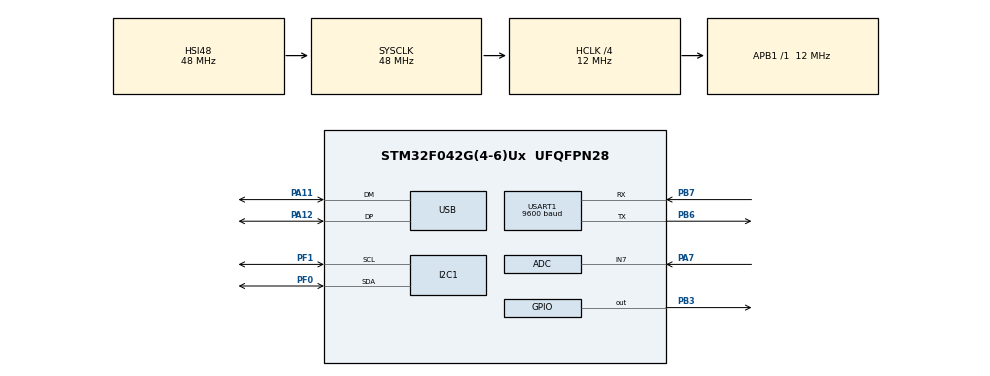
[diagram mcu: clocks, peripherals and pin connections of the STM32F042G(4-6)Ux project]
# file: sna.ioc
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ADC.ContinuousConvMode=ENABLE
ADC.DMAContinuousRequests=DISABLE
ADC.SamplingTime=ADC_SAMPLETIME_239CYCLES_5
Dma.ADC.0.Direction=DMA_PERIPH_TO_MEMORY
Dma.ADC.0.Instance=DMA1_Channel1
Dma.ADC.0.MemDataAlignment=DMA_MDATAALIGN_WORD
Dma.ADC.0.MemInc=DMA_MINC_ENABLE
Dma.ADC.0.Mode=DMA_CIRCULAR
Dma.ADC.0.PeriphDataAlignment=DMA_PDATAALIGN_HALFWORD
Dma.ADC.0.PeriphInc=DMA_PINC_DISABLE
Dma.ADC.0.Priority=DMA_PRIORITY_LOW
Dma.Request0=ADC
Mcu.Family=STM32F0
Mcu.Name=STM32F042G(4-6)Ux
Mcu.Package=UFQFPN28
NVIC.DMA1_Channel1_IRQn=true\:0\:0\:false\:false\:true\:false\:true
NVIC.USB_IRQn=true\:0\:0\:false\:false\:true\:false\:true
PA11.Mode=Device
PA11.Signal=USB_DM
PA12.Mode=Device
PA12.Signal=USB_DP
PA13.Mode=Serial_Wire
PA13.Signal=SYS_SWDIO
PA14.Mode=Serial_Wire
PA14.Signal=SYS_SWCLK
PA7.Mode=IN7
PA7.Signal=ADC_IN7
PB3.Signal=GPIO_Output
PB6.Mode=Asynchronous
PB6.Signal=USART1_TX
PB7.Mode=Asynchronous
PB7.Signal=USART1_RX
PF0-OSC_IN.GPIO_Pu=GPIO_PULLUP
PF0-OSC_IN.Mode=I2C
PF0-OSC_IN.Signal=I2C1_SDA
PF1-OSC_OUT.GPIO_Pu=GPIO_PULLUP
PF1-OSC_OUT.Mode=I2C
PF1-OSC_OUT.Signal=I2C1_SCL
ProjectManager.HeapSize=0x100
ProjectManager.StackSize=0x200
ProjectManager.TargetToolchain=STM32CubeIDE
RCC.AHBCLKDivider=RCC_SYSCLK_DIV4
RCC.AHBFreq_Value=12000000
RCC.APB1Freq_Value=12000000
RCC.APB1TimFreq_Value=12000000
RCC.HCLKFreq_Value=12000000
RCC.SYSCLKFreq_VALUE=48000000
RCC.SYSCLKSource=RCC_SYSCLKSOURCE_HSI48
RCC.USBFreq_Value=48000000
USART1.BaudRate=9600
USART1.VirtualMode-Asynchronous=VM_ASYNC
USB_DEVICE.APP_RX_DATA_SIZE=600
USB_DEVICE.APP_TX_DATA_SIZE=600
USB_DEVICE.CLASS_NAME_FS=CDC
USB_DEVICE.MANUFACTURER_STRING=Andrii Ivanchenko
USB_DEVICE.PRODUCT_STRING_CDC_FS=Scalar Network Analyzer
USB_DEVICE.VirtualMode=Cdc
USB_DEVICE.VirtualModeFS=Cdc_FS
VP_SYS_VS_PINREMAP.Mode=PINREMAP
VP_USB_DEVICE_VS_USB_DEVICE_CDC_FS.Mode=CDC_FS
board=custom

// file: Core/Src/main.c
/* USER CODE BEGIN Header */
/**
  ******************************************************************************
  * @file           : main.c
  * @brief          : Main program body
  ******************************************************************************
  * @attention
  *
  * <h2><center>&copy; Copyright (c) 2023 STMicroelectronics.
  * All rights reserved.</center></h2>
  *
  * This software component is licensed by ST under Ultimate Liberty license
  * SLA0044, the "License"; You may not use this file except in compliance with
  * the License. You may obtain a copy of the License at:
  *                             www.st.com/SLA0044
  *
  ******************************************************************************
  */
/* USER CODE END Header */
#include "main.h"
#include "adc.h"
#include "dma.h"
#include "i2c.h"
#include "usart.h"
#include "usb_device.h"
#include "gpio.h"

/* USER CODE BEGIN Includes */
#include "usbd_cdc_if.h"
#include "si5351.h"

#include "device.h"
/* USER CODE END Includes */

/* USER CODE BEGIN PD */
#define VREFINT_CAL_ADDR	0x1FFFF7BA
#define VREFINT_CAL ((uint16_t*) VREFINT_CAL_ADDR)
/* USER CODE END PD */

/* USER CODE BEGIN PV */
const int32_t correction = 0;
volatile uint32_t new_time = 0;

//volatile uint32_t Vdd = 0;
/* USER CODE END PV */

void SystemClock_Config(void);

int main(void)
{

  /* MCU Configuration--------------------------------------------------------*/

  /* Reset of all peripherals, Initializes the Flash interface and the Systick. */
  HAL_Init();

  /* Configure the system clock */
  SystemClock_Config();

  /* Initialize all configured peripherals */
  MX_GPIO_Init();
  MX_I2C1_Init();
  MX_USB_DEVICE_Init();
  MX_USART1_UART_Init();
  MX_DMA_Init();
  MX_ADC_Init();
  /* USER CODE BEGIN 2 */
  HAL_ADCEx_Calibration_Start(&hadc);

  si5351_Init(correction);
  si5351_SetupCLK0(0, SI5351_DRIVE_STRENGTH_2MA);
  si5351_SetupCLK2(0, SI5351_DRIVE_STRENGTH_2MA);
  si5351_EnableOutputs((1 << 0) | (1 << 2));

  /* USER CODE END 2 */

  /* Infinite loop */
  /* USER CODE BEGIN WHILE */
  while (1)
  {
//	  Vdd = 3300 * (*VREFINT_CAL)/adc[1];

	  usb_command_parser();

	  if (HAL_GetTick() - new_time > 500) {
		  HAL_GPIO_TogglePin(GPIOB, GPIO_PIN_3);
		  new_time = HAL_GetTick();
	  }

    /* USER CODE END WHILE */

  }
}

void SystemClock_Config(void)
{
  RCC_OscInitTypeDef RCC_OscInitStruct = {0};
  RCC_ClkInitTypeDef RCC_ClkInitStruct = {0};
  RCC_PeriphCLKInitTypeDef PeriphClkInit = {0};

  /** Initializes the RCC Oscillators according to the specified parameters
  * in the RCC_OscInitTypeDef structure.
  */
  RCC_OscInitStruct.OscillatorType = RCC_OSCILLATORTYPE_HSI|RCC_OSCILLATORTYPE_HSI14
                              |RCC_OSCILLATORTYPE_HSI48;
  RCC_OscInitStruct.HSIState = RCC_HSI_ON;
  RCC_OscInitStruct.HSI48State = RCC_HSI48_ON;
  RCC_OscInitStruct.HSI14State = RCC_HSI14_ON;
  RCC_OscInitStruct.HSICalibrationValue = RCC_HSICALIBRATION_DEFAULT;
  RCC_OscInitStruct.HSI14CalibrationValue = 16;
  RCC_OscInitStruct.PLL.PLLState = RCC_PLL_NONE;
  if (HAL_RCC_OscConfig(&RCC_OscInitStruct) != HAL_OK)
  {
    Error_Handler();
  }
  /** Initializes the CPU, AHB and APB buses clocks
  */
  RCC_ClkInitStruct.ClockType = RCC_CLOCKTYPE_HCLK|RCC_CLOCKTYPE_SYSCLK
                              |RCC_CLOCKTYPE_PCLK1;
  RCC_ClkInitStruct.SYSCLKSource = RCC_SYSCLKSOURCE_HSI48;
  RCC_ClkInitStruct.AHBCLKDivider = RCC_SYSCLK_DIV4;
  RCC_ClkInitStruct.APB1CLKDivider = RCC_HCLK_DIV1;

  if (HAL_RCC_ClockConfig(&RCC_ClkInitStruct, FLASH_LATENCY_1) != HAL_OK)
  {
    Error_Handler();
  }
  PeriphClkInit.PeriphClockSelection = RCC_PERIPHCLK_USB|RCC_PERIPHCLK_USART1
                              |RCC_PERIPHCLK_I2C1;
  PeriphClkInit.Usart1ClockSelection = RCC_USART1CLKSOURCE_PCLK1;
  PeriphClkInit.I2c1ClockSelection = RCC_I2C1CLKSOURCE_HSI;
  PeriphClkInit.UsbClockSelection = RCC_USBCLKSOURCE_HSI48;

  if (HAL_RCCEx_PeriphCLKConfig(&PeriphClkInit) != HAL_OK)
  {
    Error_Handler();
  }
}

void Error_Handler(void)
{
  __disable_irq();
  while (1)
  {
  }
}

/************************ (C) COPYRIGHT STMicroelectronics *****END OF FILE****/
